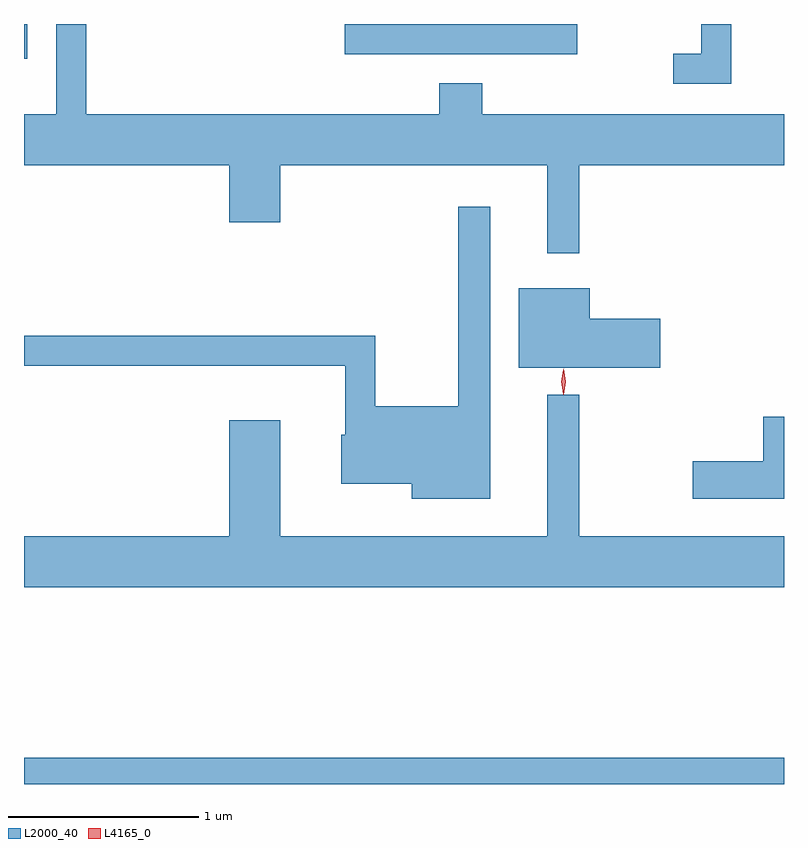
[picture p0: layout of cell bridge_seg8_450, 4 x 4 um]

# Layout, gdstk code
import gdstk
lib = gdstk.Library(unit=1e-6, precision=1e-09)
def R(c, l, rs):  # rectangles x0, y0, x1, y1
    for r in rs: c.add(gdstk.rectangle(r[:2], r[2:], *l))
def P(c, l, *ps):  # polygons
    for p in ps: c.add(gdstk.Polygon(p, *l))
L2000_40 = (2000, 40)
L4165_0 = (4165, 0)

bridge_seg8_450 = lib.new_cell('bridge_seg8_450')
R(bridge_seg8_450, L2000_40, [(593.616,1882,597.616,1882.139), (593.616,1885.816,593.634,1886), (595.303,1885.841,596.528,1885.999)])
P(bridge_seg8_450, L2000_40, [(596.539,1885.256),(597.616,1885.256),(597.616,1885.524),(596.029,1885.524),(596.029,1885.689),(595.801,1885.689),(595.801,1885.524),(593.944,1885.524),(593.944,1886),(593.786,1886),(593.786,1885.524),(593.616,1885.524),(593.616,1885.256),(594.696,1885.256),(594.696,1884.956),(594.964,1884.956),(594.964,1885.256),(596.371,1885.256),(596.371,1884.793),(596.539,1884.793)],
  [(597.339,1886),(597.181,1886),(597.181,1885.844),(597.033,1885.844),(597.033,1885.686),(597.339,1885.686)],
  [(596.069,1885.038),(595.901,1885.038),(595.901,1883.989),(595.464,1883.989),(595.464,1884.359),(593.616,1884.359),(593.616,1884.201),(595.306,1884.201),(595.306,1883.839),(595.286,1883.839),(595.286,1883.581),(595.656,1883.581),(595.656,1883.501),(596.069,1883.501)],
  [(596.964,1884.449),(596.594,1884.449),(596.594,1884.609),(596.221,1884.609),(596.221,1884.191),(596.964,1884.191)],
  [(597.616,1883.304),(596.539,1883.304),(596.539,1884.048),(596.371,1884.048),(596.371,1883.304),(594.964,1883.304),(594.964,1883.914),(594.696,1883.914),(594.696,1883.304),(593.616,1883.304),(593.616,1883.036),(597.616,1883.036)],
  [(597.616,1883.934),(597.506,1883.934),(597.506,1883.699),(597.136,1883.699),(597.136,1883.501),(597.616,1883.501)])
P(bridge_seg8_450, L4165_0, [(596.456,1884.049),(596.455,1884.05),(596.447,1884.118),(596.457,1884.185),(596.457,1884.186),(596.458,1884.185),(596.466,1884.117),(596.456,1884.05)],
  [(596.454,1884.053),(596.454,1884.053),(596.444,1884.116),(596.453,1884.179),(596.453,1884.18),(596.454,1884.179),(596.464,1884.116),(596.455,1884.053)])

lib.write_gds('bridge_seg8_450.gds')
